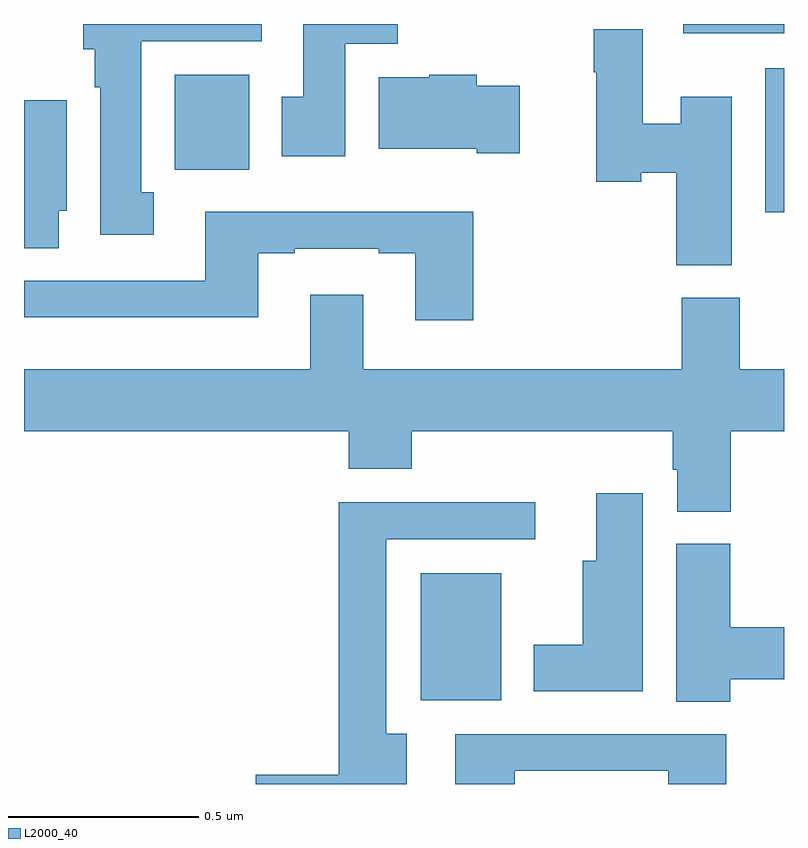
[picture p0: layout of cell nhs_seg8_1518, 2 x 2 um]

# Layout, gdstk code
import gdstk
lib = gdstk.Library(unit=1e-6, precision=1e-09)
def R(c, l, rs):  # rectangles x0, y0, x1, y1
    for r in rs: c.add(gdstk.rectangle(r[:2], r[2:], *l))
def P(c, l, *ps):  # polygons
    for p in ps: c.add(gdstk.Polygon(p, *l))
L2000_40 = (2000, 40)

nhs_seg8_1518 = lib.new_cell('nhs_seg8_1518')
R(nhs_seg8_1518, L2000_40, [(132.044,1121.12,132.256,1121.455), (132.95,1122.404,133,1122.784), (131.397,1122.516,131.593,1122.766), (132.735,1122.876,133,1122.9)])
P(nhs_seg8_1518, L2000_40, [(131.341,1122.457),(131.308,1122.457),(131.308,1122.854),(131.626,1122.854),(131.626,1122.9),(131.156,1122.9),(131.156,1122.834),(131.186,1122.834),(131.186,1122.734),(131.201,1122.734),(131.201,1122.345),(131.341,1122.345)],
  [(131.845,1122.848),(131.984,1122.848),(131.984,1122.9),(131.735,1122.9),(131.735,1122.708),(131.678,1122.708),(131.678,1122.552),(131.845,1122.552)],
  [(132.862,1122.709),(132.728,1122.709),(132.728,1122.637),(132.628,1122.637),(132.628,1122.886),(132.499,1122.886),(132.499,1122.773),(132.506,1122.773),(132.506,1122.485),(132.624,1122.485),(132.624,1122.508),(132.716,1122.508),(132.716,1122.265),(132.862,1122.265)],
  [(132.304,1122.738),(132.192,1122.738),(132.192,1122.766),(132.066,1122.766),(132.066,1122.76),(131.933,1122.76),(131.933,1122.572),(132.191,1122.572),(132.191,1122.56),(132.304,1122.56)],
  [(131.092,1122.408),(131.113,1122.408),(131.113,1122.7),(131,1122.7),(131,1122.31),(131.092,1122.31)],
  [(132.182,1122.406),(131.477,1122.406),(131.477,1122.225),(131,1122.225),(131,1122.128),(131.617,1122.128),(131.617,1122.297),(131.713,1122.297),(131.713,1122.309),(131.933,1122.309),(131.933,1122.297),(132.029,1122.297),(132.029,1122.12),(132.182,1122.12)],
  [(132.86,1121.828),(133,1121.828),(133,1121.992),(132.883,1121.992),(132.883,1122.18),(132.731,1122.18),(132.731,1121.992),(131.893,1121.992),(131.893,1122.187),(131.753,1122.187),(131.753,1121.992),(131,1121.992),(131,1121.828),(131.855,1121.828),(131.855,1121.729),(132.02,1121.729),(132.02,1121.828),(132.707,1121.828),(132.707,1121.727),(132.719,1121.727),(132.719,1121.617),(132.86,1121.617)],
  [(132.628,1121.665),(132.506,1121.665),(132.506,1121.488),(132.47,1121.488),(132.47,1121.266),(132.341,1121.266),(132.341,1121.144),(132.628,1121.144)],
  [(132.007,1121.032),(131.953,1121.032),(131.953,1121.544),(132.346,1121.544),(132.346,1121.642),(131.828,1121.642),(131.828,1120.925),(131.61,1120.925),(131.61,1120.9),(132.007,1120.9)],
  [(132.858,1121.176),(133,1121.176),(133,1121.312),(132.858,1121.312),(132.858,1121.532),(132.716,1121.532),(132.716,1121.116),(132.858,1121.116)],
  [(132.291,1120.935),(132.695,1120.935),(132.695,1120.9),(132.848,1120.9),(132.848,1121.031),(132.135,1121.031),(132.135,1120.9),(132.291,1120.9)])

lib.write_gds('nhs_seg8_1518.gds')
